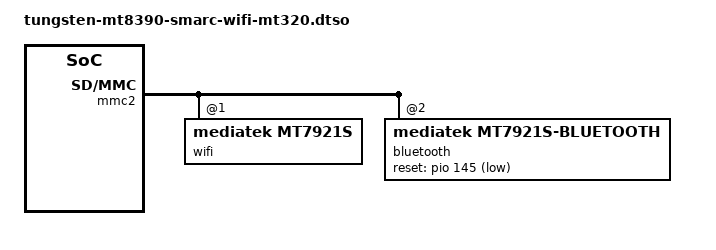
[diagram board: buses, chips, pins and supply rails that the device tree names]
// SPDX-License-Identifier: (GPL-2.0+ OR MIT)
/*
 * On-board SDIO MT320 radio-only module
 *
 * Copyright (C) 2024 Ezurio LLC
 */

/dts-v1/;
/plugin/;

#include <dt-bindings/gpio/gpio.h>

&reg_wifi_en {
	startup-delay-us = <50000>;
	off-on-delay-us = <100>;
};

&mmc2 {
	status = "okay";

	sd-uhs-sdr104;

	#address-cells = <1>;
	#size-cells = <0>;

	wifi@1 {
		compatible = "mediatek,mt7921s";
		reg = <1>;
	};

	bluetooth@2 {
		compatible = "mediatek,mt7921s-bluetooth";
		reg = <2>;

		pinctrl-names = "default";
		pinctrl-0 = <&bt_en_pins>;
		reset-gpios = <&pio 145 GPIO_ACTIVE_LOW>;
	}; 
};
